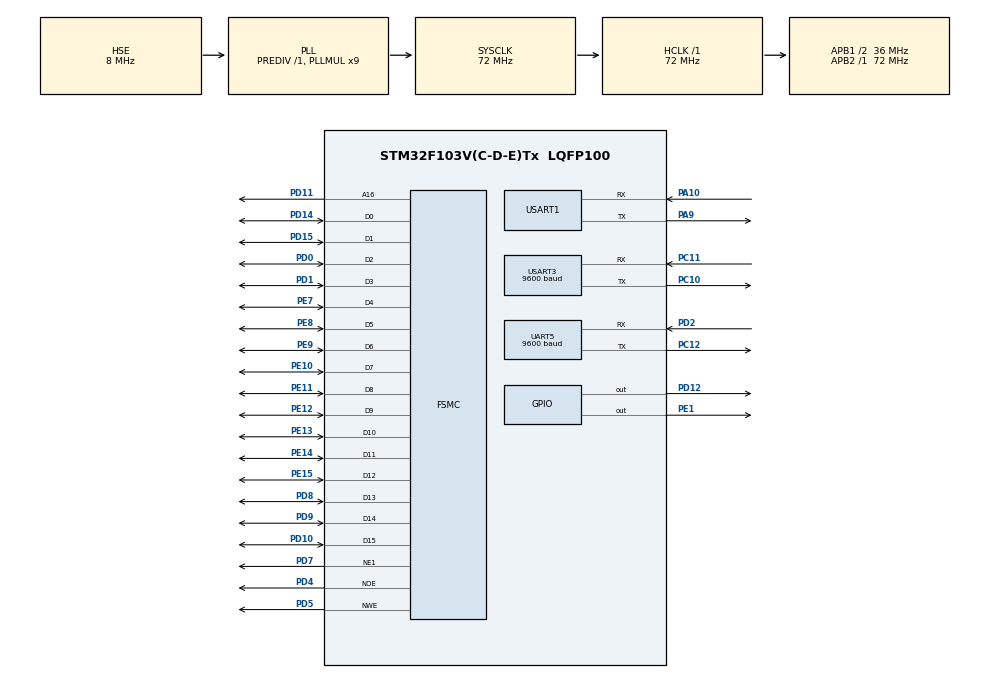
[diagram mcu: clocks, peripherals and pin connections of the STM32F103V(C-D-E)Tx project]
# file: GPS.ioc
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Mcu.Family=STM32F1
Mcu.Name=STM32F103V(C-D-E)Tx
Mcu.Package=LQFP100
NVIC.PriorityGroup=NVIC_PRIORITYGROUP_4
NVIC.UART5_IRQn=true\:0\:0\:false\:false\:true\:true\:true\:true
NVIC.USART1_IRQn=true\:0\:0\:false\:false\:true\:true\:true\:true
NVIC.USART3_IRQn=true\:0\:0\:false\:false\:true\:true\:true\:true
OSC_IN.Mode=HSE-External-Oscillator
OSC_IN.Signal=RCC_OSC_IN
OSC_OUT.Mode=HSE-External-Oscillator
OSC_OUT.Signal=RCC_OSC_OUT
PA10.Mode=Asynchronous
PA10.Signal=USART1_RX
PA13.Mode=Serial_Wire
PA13.Signal=SYS_JTMS-SWDIO
PA14.Mode=Serial_Wire
PA14.Signal=SYS_JTCK-SWCLK
PA9.Mode=Asynchronous
PA9.Signal=USART1_TX
PC10.Mode=Asynchronous
PC10.Signal=USART3_TX
PC11.Mode=Asynchronous
PC11.Signal=USART3_RX
PC12.Mode=Asynchronous
PC12.Signal=UART5_TX
PC14-OSC32_IN.Mode=LSE-External-Oscillator
PC14-OSC32_IN.Signal=RCC_OSC32_IN
PC15-OSC32_OUT.Mode=LSE-External-Oscillator
PC15-OSC32_OUT.Signal=RCC_OSC32_OUT
PD0.Mode=16b-d1
PD0.Signal=FSMC_D2
PD1.Mode=16b-d1
PD1.Signal=FSMC_D3
PD10.Mode=16b-d1
PD10.Signal=FSMC_D15
PD11.Mode=A16_1
PD11.Signal=FSMC_A16
PD12.GPIO_Speed=GPIO_SPEED_FREQ_HIGH
PD12.PinState=GPIO_PIN_SET
PD12.Signal=GPIO_Output
PD14.Mode=16b-d1
PD14.Signal=FSMC_D0
PD15.Mode=16b-d1
PD15.Signal=FSMC_D1
PD2.Mode=Asynchronous
PD2.Signal=UART5_RX
PD4.Mode=Lcd1
PD4.Signal=FSMC_NOE
PD5.Mode=Lcd1
PD5.Signal=FSMC_NWE
PD7.Mode=NorPsramChipSelect1_1
PD7.Signal=FSMC_NE1
PD8.Mode=16b-d1
PD8.Signal=FSMC_D13
PD9.Mode=16b-d1
PD9.Signal=FSMC_D14
PE1.GPIO_Speed=GPIO_SPEED_FREQ_HIGH
PE1.PinState=GPIO_PIN_SET
PE1.Signal=GPIO_Output
PE10.Mode=16b-d1
PE10.Signal=FSMC_D7
PE11.Mode=16b-d1
PE11.Signal=FSMC_D8
PE12.Mode=16b-d1
PE12.Signal=FSMC_D9
PE13.Mode=16b-d1
PE13.Signal=FSMC_D10
PE14.Mode=16b-d1
PE14.Signal=FSMC_D11
PE15.Mode=16b-d1
PE15.Signal=FSMC_D12
PE7.Mode=16b-d1
PE7.Signal=FSMC_D4
PE8.Mode=16b-d1
PE8.Signal=FSMC_D5
PE9.Mode=16b-d1
PE9.Signal=FSMC_D6
ProjectManager.HeapSize=0x200
ProjectManager.StackSize=0x400
ProjectManager.TargetToolchain=STM32CubeIDE
RCC.AHBFreq_Value=72000000
RCC.APB1CLKDivider=RCC_HCLK_DIV2
RCC.APB1Freq_Value=36000000
RCC.APB1TimFreq_Value=72000000
RCC.APB2Freq_Value=72000000
RCC.APB2TimFreq_Value=72000000
RCC.HCLKFreq_Value=72000000
RCC.PLLMUL=RCC_PLL_MUL9
RCC.PLLSourceVirtual=RCC_PLLSOURCE_HSE
RCC.SYSCLKFreq_VALUE=72000000
RCC.SYSCLKSource=RCC_SYSCLKSOURCE_PLLCLK
RCC.USBFreq_Value=72000000
UART5.BaudRate=9600
UART5.VirtualMode=Asynchronous
USART1.VirtualMode=VM_ASYNC
USART3.BaudRate=9600
USART3.VirtualMode=VM_ASYNC
board=custom

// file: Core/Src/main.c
/* USER CODE BEGIN Header */
/**
 ******************************************************************************
 * @file           : main.c
 * @brief          : Main program body
 ******************************************************************************
 * @attention
 *
 * Copyright (c) 2024 STMicroelectronics.
 * All rights reserved.
 *
 * This software is licensed under terms that can be found in the LICENSE file
 * in the root directory of this software component.
 * If no LICENSE file comes with this software, it is provided AS-IS.
 *
 ******************************************************************************
 */
/* USER CODE END Header */
#include "main.h"

/* USER CODE BEGIN Includes */
#include "lcd.h"
#include "gps.h"
// #include "usart.h"

#include <stdio.h>
#include <math.h>
#include <string.h>
/* USER CODE END Includes */

 UART_HandleTypeDef huart5;
UART_HandleTypeDef huart1;
UART_HandleTypeDef huart3;

SRAM_HandleTypeDef hsram1;

/* USER CODE BEGIN PV */
GPS_t GPS; //Global definition of the GPS_t object
uint8_t Pindex = 0;
uint8_t Lindex = 0;
uint8_t PCInt;
uint8_t LoraInt;
uint8_t rxCNT = 0;
uint8_t FromPCMsgComplete = 0;
uint8_t FromLoraMsgComplete = 0;
uint8_t PCMsg[20]; // buffer for LoRa message
uint8_t testmsg[];
uint8_t loraMsg[200]; // buffer for LoRa message
uint8_t size =0;
uint8_t test = 0;
/* USER CODE END PV */

void SystemClock_Config(void);
static void MX_GPIO_Init(void);
static void MX_FSMC_Init(void);
static void MX_USART3_UART_Init(void);
static void MX_USART1_UART_Init(void);
static void MX_UART5_Init(void);

int main(void)
{

  /* MCU Configuration--------------------------------------------------------*/

  /* Reset of all peripherals, Initializes the Flash interface and the Systick. */
  HAL_Init();

  /* Configure the system clock */
  SystemClock_Config();

  /* Initialize all configured peripherals */
  MX_GPIO_Init();
  MX_FSMC_Init();
  MX_USART3_UART_Init();
  MX_USART1_UART_Init();
  MX_UART5_Init();
  /* USER CODE BEGIN 2 */
	LCD_INIT();
	// HAL_GPIO_WritePin(GPS_GPIO_Port, GPS_Pin, GPIO_PIN_SET);
	GPS_Init();
	HAL_UART_Receive_IT (&huart1, &PCInt, 1);
	HAL_UART_Receive_IT (&huart5, &LoraInt, 1);

  /* USER CODE END 2 */

  /* Infinite loop */
  /* USER CODE BEGIN WHILE */
	while (1) {
//		if (FromPCMsgComplete){
//			size = Pindex;
//			HAL_UART_Transmit(&huart1, PCMsg, sizeof(PCMsg), 300); // transmit to PC for display
//			memcpy(testmsg, PCMsg, size);
//			if(HAL_UART_Transmit(&huart5, testmsg, size, 5000) == HAL_OK) {
//				    HAL_UART_Receive_IT (&huart5, &LoraInt, 1);
//				     	test = 1;
//				     }// transmit to LoRa for transmit
//				    memset(PCMsg, 0, 20); // clear message buffer
//				    Pindex = 0;
//				    FromPCMsgComplete = 0;
//				  }

			if (FromLoraMsgComplete){
				    Lindex = 0;
				    HAL_UART_Transmit(&huart1, loraMsg, sizeof(loraMsg), 300); // transmit to PC for display
				    memset(loraMsg, 0, 200); // clear message buffer
				    FromLoraMsgComplete = 0;
		}

		LCD_DrawString(7, 15, "Hiii!");
		LCD_DrawString(7, 35, "This is current pet location.");

//		HAL_UART_Transmit(&huart1, (uint8_t*) "Start", sizeof("Start") - 1,
//				HAL_MAX_DELAY);

		LCD_DrawString(10, 60, "Date: ");
		LCD_DrawTimeDate(120, 60, GPS.year, GPS.month, GPS.day);

		char buffer[20];
		sprintf(buffer, "%02d,%02d,%02d \r\n", GPS.year, GPS.month, GPS.day);
		HAL_UART_Transmit(&huart1, (uint8_t*) buffer, strlen(buffer),HAL_MAX_DELAY);
//		HAL_UART_Transmit(&huart5, (uint8_t*) buffer, strlen(buffer), HAL_MAX_DELAY);
//		HAL_UART_Transmit(&huart1, (uint8_t*) buffer, strlen(buffer),
//				HAL_MAX_DELAY);

		LCD_DrawString(10, 80, "Time: ");
		LCD_DrawTimeDate(120, 80, GPS.hours, GPS.minutes, GPS.seconds);

		char buffer1[20];
		sprintf(buffer1, "%02d,%02d,%02d \r\n", GPS.hours, GPS.minutes,
				GPS.seconds);
//		HAL_UART_Transmit(&huart5, (uint8_t*) buffer1, strlen(buffer1), HAL_MAX_DELAY);
//		HAL_UART_Transmit(&huart1, (uint8_t*) buffer1, strlen(buffer1),
//				HAL_MAX_DELAY);

		LCD_DrawString(10, 100, "Longitude: ");
		LCD_DrawFloat(120, 100, GPS.dec_latitude);
		//LCD_DrawFloat(150, 100, nmea_longitude);
		char buffer2[20];
		sprintf(buffer2, "%f \r\n", GPS.dec_latitude);
		HAL_UART_Transmit(&huart5, (uint8_t*) buffer2, strlen(buffer2), HAL_MAX_DELAY);
//		HAL_UART_Transmit(&huart1, (uint8_t*) buffer2, strlen(buffer2),
//				HAL_MAX_DELAY);

		LCD_DrawString(10, 120, "Latitude: ");
		LCD_DrawFloat(120, 120, GPS.dec_longitude);
		//LCD_DrawFloat(150, 120, nmea_latitude);
		char buffer3[20];
		sprintf(buffer3, "%f \r\n", GPS.dec_longitude);
		HAL_UART_Transmit(&huart5, (uint8_t*) buffer3, strlen(buffer3), HAL_MAX_DELAY);
//		HAL_UART_Transmit(&huart1, (uint8_t*) buffer3, strlen(buffer3),
//				HAL_MAX_DELAY);
//
//		HAL_UART_Transmit(&huart1, (uint8_t*) "End", sizeof("End") - 1,
//				HAL_MAX_DELAY);

    /* USER CODE END WHILE */

	}
}

void SystemClock_Config(void)
{
  RCC_OscInitTypeDef RCC_OscInitStruct = {0};
  RCC_ClkInitTypeDef RCC_ClkInitStruct = {0};

  /** Initializes the RCC Oscillators according to the specified parameters
  * in the RCC_OscInitTypeDef structure.
  */
  RCC_OscInitStruct.OscillatorType = RCC_OSCILLATORTYPE_HSE;
  RCC_OscInitStruct.HSEState = RCC_HSE_ON;
  RCC_OscInitStruct.HSEPredivValue = RCC_HSE_PREDIV_DIV1;
  RCC_OscInitStruct.HSIState = RCC_HSI_ON;
  RCC_OscInitStruct.PLL.PLLState = RCC_PLL_ON;
  RCC_OscInitStruct.PLL.PLLSource = RCC_PLLSOURCE_HSE;
  RCC_OscInitStruct.PLL.PLLMUL = RCC_PLL_MUL9;
  if (HAL_RCC_OscConfig(&RCC_OscInitStruct) != HAL_OK)
  {
    Error_Handler();
  }

  /** Initializes the CPU, AHB and APB buses clocks
  */
  RCC_ClkInitStruct.ClockType = RCC_CLOCKTYPE_HCLK|RCC_CLOCKTYPE_SYSCLK
                              |RCC_CLOCKTYPE_PCLK1|RCC_CLOCKTYPE_PCLK2;
  RCC_ClkInitStruct.SYSCLKSource = RCC_SYSCLKSOURCE_PLLCLK;
  RCC_ClkInitStruct.AHBCLKDivider = RCC_SYSCLK_DIV1;
  RCC_ClkInitStruct.APB1CLKDivider = RCC_HCLK_DIV2;
  RCC_ClkInitStruct.APB2CLKDivider = RCC_HCLK_DIV1;

  if (HAL_RCC_ClockConfig(&RCC_ClkInitStruct, FLASH_LATENCY_2) != HAL_OK)
  {
    Error_Handler();
  }
}

static void MX_UART5_Init(void)
{

  huart5.Instance = UART5;
  huart5.Init.BaudRate = 9600;
  huart5.Init.WordLength = UART_WORDLENGTH_8B;
  huart5.Init.StopBits = UART_STOPBITS_1;
  huart5.Init.Parity = UART_PARITY_NONE;
  huart5.Init.Mode = UART_MODE_TX_RX;
  huart5.Init.HwFlowCtl = UART_HWCONTROL_NONE;
  huart5.Init.OverSampling = UART_OVERSAMPLING_16;
  if (HAL_UART_Init(&huart5) != HAL_OK)
  {
    Error_Handler();
  }

}

static void MX_USART1_UART_Init(void)
{

  huart1.Instance = USART1;
  huart1.Init.BaudRate = 115200;
  huart1.Init.WordLength = UART_WORDLENGTH_8B;
  huart1.Init.StopBits = UART_STOPBITS_1;
  huart1.Init.Parity = UART_PARITY_NONE;
  huart1.Init.Mode = UART_MODE_TX_RX;
  huart1.Init.HwFlowCtl = UART_HWCONTROL_NONE;
  huart1.Init.OverSampling = UART_OVERSAMPLING_16;
  if (HAL_UART_Init(&huart1) != HAL_OK)
  {
    Error_Handler();
  }

}

static void MX_USART3_UART_Init(void)
{

  /* USER CODE BEGIN USART3_Init 0 */
//
  /* USER CODE END USART3_Init 0 */

  /* USER CODE BEGIN USART3_Init 1 */
//
  /* USER CODE END USART3_Init 1 */
  huart3.Instance = USART3;
  huart3.Init.BaudRate = 9600;
  huart3.Init.WordLength = UART_WORDLENGTH_8B;
  huart3.Init.StopBits = UART_STOPBITS_1;
  huart3.Init.Parity = UART_PARITY_NONE;
  huart3.Init.Mode = UART_MODE_TX_RX;
  huart3.Init.HwFlowCtl = UART_HWCONTROL_NONE;
  huart3.Init.OverSampling = UART_OVERSAMPLING_16;
  if (HAL_UART_Init(&huart3) != HAL_OK)
  {
    Error_Handler();
  }
  /* USER CODE BEGIN USART3_Init 2 */
//
  /* USER CODE END USART3_Init 2 */

}

static void MX_GPIO_Init(void)
{
  GPIO_InitTypeDef GPIO_InitStruct = {0};

  /* GPIO Ports Clock Enable */
  __HAL_RCC_GPIOC_CLK_ENABLE();
  __HAL_RCC_GPIOE_CLK_ENABLE();
  __HAL_RCC_GPIOD_CLK_ENABLE();
  __HAL_RCC_GPIOA_CLK_ENABLE();

  /*Configure GPIO pin Output Level */
  HAL_GPIO_WritePin(GPIOD, GPIO_PIN_12, GPIO_PIN_SET);

  /*Configure GPIO pin Output Level */
  HAL_GPIO_WritePin(GPIOE, GPIO_PIN_1, GPIO_PIN_SET);

  /*Configure GPIO pin : PD12 */
  GPIO_InitStruct.Pin = GPIO_PIN_12;
  GPIO_InitStruct.Mode = GPIO_MODE_OUTPUT_PP;
  GPIO_InitStruct.Pull = GPIO_NOPULL;
  GPIO_InitStruct.Speed = GPIO_SPEED_FREQ_HIGH;
  HAL_GPIO_Init(GPIOD, &GPIO_InitStruct);

  /*Configure GPIO pin : PE1 */
  GPIO_InitStruct.Pin = GPIO_PIN_1;
  GPIO_InitStruct.Mode = GPIO_MODE_OUTPUT_PP;
  GPIO_InitStruct.Pull = GPIO_NOPULL;
  GPIO_InitStruct.Speed = GPIO_SPEED_FREQ_HIGH;
  HAL_GPIO_Init(GPIOE, &GPIO_InitStruct);

}

/* FSMC initialization function */
static void MX_FSMC_Init(void)
{

  FSMC_NORSRAM_TimingTypeDef Timing = {0};

  /** Perform the SRAM1 memory initialization sequence
  */
  hsram1.Instance = FSMC_NORSRAM_DEVICE;
  hsram1.Extended = FSMC_NORSRAM_EXTENDED_DEVICE;
  /* hsram1.Init */
  hsram1.Init.NSBank = FSMC_NORSRAM_BANK1;
  hsram1.Init.DataAddressMux = FSMC_DATA_ADDRESS_MUX_DISABLE;
  hsram1.Init.MemoryType = FSMC_MEMORY_TYPE_SRAM;
  hsram1.Init.MemoryDataWidth = FSMC_NORSRAM_MEM_BUS_WIDTH_16;
  hsram1.Init.BurstAccessMode = FSMC_BURST_ACCESS_MODE_DISABLE;
  hsram1.Init.WaitSignalPolarity = FSMC_WAIT_SIGNAL_POLARITY_LOW;
  hsram1.Init.WrapMode = FSMC_WRAP_MODE_DISABLE;
  hsram1.Init.WaitSignalActive = FSMC_WAIT_TIMING_BEFORE_WS;
  hsram1.Init.WriteOperation = FSMC_WRITE_OPERATION_ENABLE;
  hsram1.Init.WaitSignal = FSMC_WAIT_SIGNAL_DISABLE;
  hsram1.Init.ExtendedMode = FSMC_EXTENDED_MODE_DISABLE;
  hsram1.Init.AsynchronousWait = FSMC_ASYNCHRONOUS_WAIT_DISABLE;
  hsram1.Init.WriteBurst = FSMC_WRITE_BURST_DISABLE;
  /* Timing */
  Timing.AddressSetupTime = 15;
  Timing.AddressHoldTime = 15;
  Timing.DataSetupTime = 255;
  Timing.BusTurnAroundDuration = 15;
  Timing.CLKDivision = 16;
  Timing.DataLatency = 17;
  Timing.AccessMode = FSMC_ACCESS_MODE_A;
  /* ExtTiming */

  if (HAL_SRAM_Init(&hsram1, &Timing, NULL) != HAL_OK)
  {
    Error_Handler( );
  }

  /** Disconnect NADV
  */

  __HAL_AFIO_FSMCNADV_DISCONNECTED();

}

/* USER CODE BEGIN 4 */
void HAL_UART_RxCpltCallback(UART_HandleTypeDef *huart)
 {
	if(Lindex > 198) Lindex = 1; // catch overflow
	if(Pindex > 198) Pindex = 1; // catch overflow
	if (huart -> Instance == USART1){
			if (PCInt == 10){
				PCMsg[Pindex] =  huart->Instance->DR;
				Pindex++;
				FromPCMsgComplete = 1;
			} else {
				PCMsg[Pindex] =  huart->Instance->DR;
				Pindex++;
			}
		    HAL_UART_Receive_IT (&huart1, &PCInt, 1);

	} else if(huart -> Instance == UART5){
			if (LoraInt == 10){
				loraMsg[Lindex] =  huart->Instance->DR;
				Lindex++;
				FromLoraMsgComplete = 1;
				} else {
					loraMsg[Lindex] =  huart->Instance->DR;
					Lindex++;
					}
			HAL_UART_Receive_IT (&huart5, &LoraInt, 1);
	} else if(huart -> Instance == USART3){
			GPS_UART_CallBack();
	}
 }
/* USER CODE END 4 */

void Error_Handler(void)
{
	__disable_irq();
	while (1) {
	}
}
